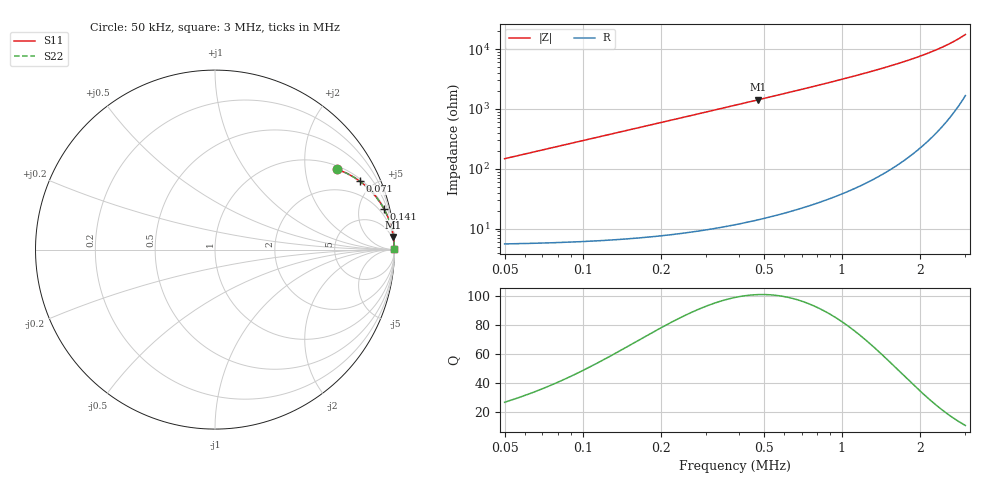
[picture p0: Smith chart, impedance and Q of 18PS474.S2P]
! Coilcraft 1812PS-474 Power Chip Inductor
! 1 October 2002
# MHZ S MA R 50
!Freq  MagS11  AngS11  MagS21  AngS21  MagS12  AngS12  MagS22  AngS22
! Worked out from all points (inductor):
!   423 points, 50 kHz to 3 MHz, reference 50 ohm
!   read as one part in series: L = 470 uH near 64 kHz
!   highest Q = 101 at 477 kHz (marker M1), where L = 476 uH
!   S11 on the Smith chart (normalised r, x): 50 kHz: 1.11, +2.95; 71 kHz: 1.12, +4.19; 141 kHz: 1.13, +8.34; 3 MHz: open
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0.05  0.8141 33.4  0.5509 -54.4  0.5509 -54.4  0.8141 33.4
0.057  0.8475 30.2  0.5031 -57.9  0.5031 -57.9  0.8475 30.2
0.071  0.8932 25.2  0.4257 -63.2  0.4257 -63.2  0.8932 25.2
0.085  0.9216 21.5  0.3669 -67.1  0.3669 -67.1  0.9216 21.5
0.099  0.9403 18.7  0.3214 -70.1  0.3214 -70.1  0.9403 18.7
0.12  0.958 15.7  0.2701 -73.3  0.2701 -73.3  0.958 15.7
0.141  0.9689 13.4  0.2324 -75.6  0.2324 -75.6  0.9689 13.4
0.169  0.9779 11.3  0.1956 -77.9  0.1956 -77.9  0.9779 11.3
0.204  0.9845 9.4  0.163 -79.9  0.163 -79.9  0.9845 9.4
0.274  0.9912 7.0  0.122 -82.4  0.122 -82.4  0.9912 7.0
0.365  0.9949 5.3  0.09161 -84.2  0.09161 -84.2  0.9949 5.3
0.477  0.9969 4.0  0.06987 -85.4  0.06987 -85.4  0.9969 4.0
0.547  0.9976 3.5  0.06073 -85.9  0.06073 -85.9  0.9976 3.5
0.652  0.9982 2.9  0.05062 -86.5  0.05062 -86.5  0.9982 2.9
0.764  0.9986 2.5  0.04283 -86.9  0.04283 -86.9  0.9986 2.5
0.89  0.9989 2.1  0.03634 -87.3  0.03634 -87.3  0.9989 2.1
1.037  0.9991 1.8  0.03068 -87.5  0.03068 -87.5  0.9991 1.8
1.261  0.9993 1.4  0.02447 -87.8  0.02447 -87.8  0.9993 1.4
1.527  0.9995 1.1  0.0193 -87.8  0.0193 -87.8  0.9995 1.1
2.017  0.9995 0.7  0.01301 -87.6  0.01301 -87.6  0.9995 0.7
2.514  0.9995 0.5  0.008768 -86.6  0.008768 -86.6  0.9995 0.5
3  0.9994 0.3  0.005699 -84.2  0.005699 -84.2  0.9994 0.3
